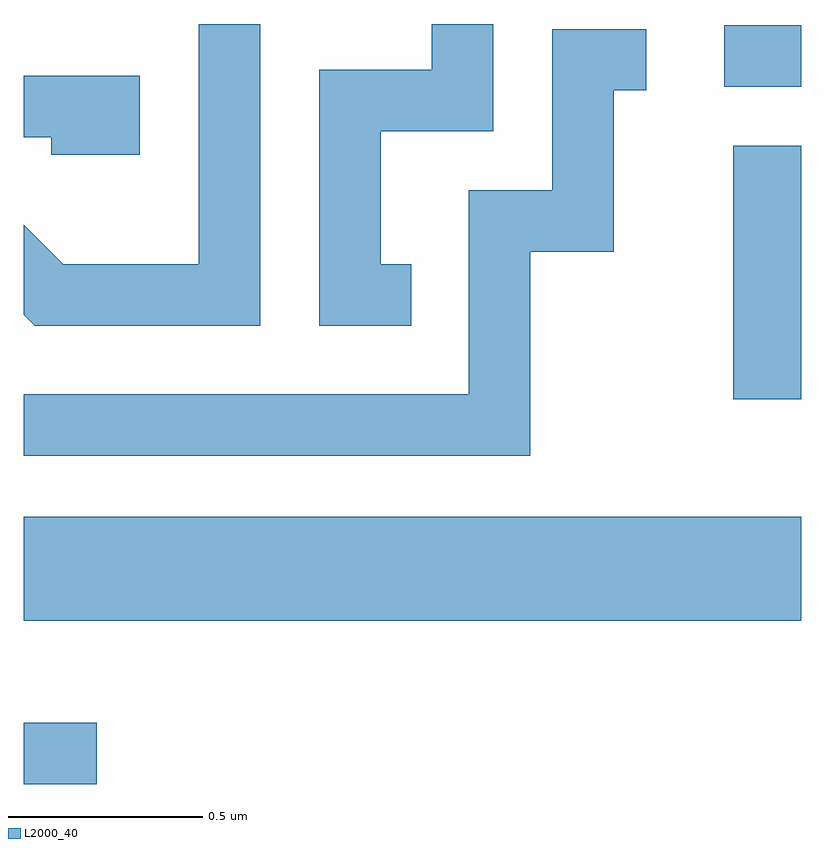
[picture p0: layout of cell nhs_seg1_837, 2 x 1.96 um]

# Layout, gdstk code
import gdstk
lib = gdstk.Library(unit=1e-6, precision=1e-09)
def R(c, l, rs):  # rectangles x0, y0, x1, y1
    for r in rs: c.add(gdstk.rectangle(r[:2], r[2:], *l))
def P(c, l, *ps):  # polygons
    for p in ps: c.add(gdstk.Polygon(p, *l))
L2000_40 = (2000, 40)

nhs_seg1_837 = lib.new_cell('nhs_seg1_837')
R(nhs_seg1_837, L2000_40, [(191.611,854.756,191.798,854.914), (191.611,855.176,193.611,855.444), (193.436,855.746,193.611,856.399), (193.413,856.551,193.611,856.709)])
P(nhs_seg1_837, L2000_40, [(192.608,856.094),(192.529,856.094),(192.529,856.436),(192.819,856.436),(192.819,856.712),(192.661,856.712),(192.661,856.594),(192.371,856.594),(192.371,855.936),(192.608,855.936)],
  [(192.219,856.712),(192.061,856.712),(192.061,856.094),(191.712,856.094),(191.611,856.195),(191.611,855.964),(191.639,855.936),(192.219,855.936)],
  [(192.914,856.126),(193.129,856.126),(193.129,856.541),(193.213,856.541),(193.213,856.699),(192.971,856.699),(192.971,856.284),(192.756,856.284),(192.756,855.759),(191.611,855.759),(191.611,855.601),(192.914,855.601)],
  [(191.909,856.579),(191.611,856.579),(191.611,856.421),(191.681,856.421),(191.681,856.376),(191.909,856.376)])

lib.write_gds('nhs_seg1_837.gds')
